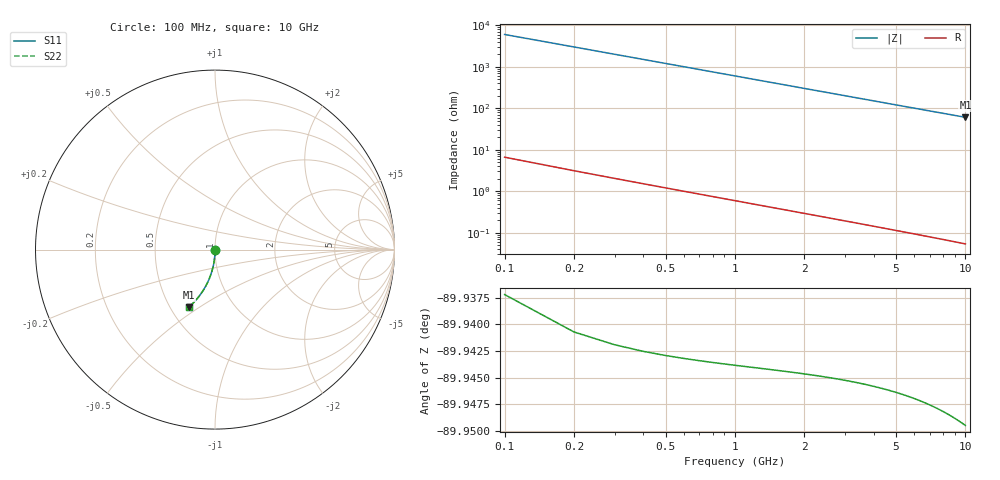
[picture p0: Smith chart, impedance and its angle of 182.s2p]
# Hz S RI R 50.00
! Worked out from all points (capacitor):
!   100 points, 100 MHz to 10 GHz, reference 50 ohm
!   read as one part in shunt: C = 263 fF near 100 MHz
!   lowest |Z| = 60.8 ohm at 10 GHz (marker M1)
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1e8  0.000243 -0.0038  0.9997 -0.00447  0.9997 -0.00447  0.000243 -0.0038
2e8  0.00019 -0.0076  0.9997 -0.00894  0.9997 -0.00894  0.00019 -0.0076
3e8  0.000102 -0.0114  0.9996 -0.0134  0.9996 -0.0134  0.000102 -0.0114
4e8  -1.96e-05 -0.0152  0.9994 -0.0179  0.9994 -0.0179  -1.96e-05 -0.0152
5e8  -0.000176 -0.019  0.9993 -0.0223  0.9993 -0.0223  -0.000176 -0.019
6e8  -0.000366 -0.0228  0.9991 -0.0268  0.9991 -0.0268  -0.000366 -0.0228
7e8  -0.000589 -0.0266  0.9989 -0.0313  0.9989 -0.0313  -0.000589 -0.0266
8e8  -0.000847 -0.0304  0.9986 -0.0357  0.9986 -0.0357  -0.000847 -0.0304
9e8  -0.00114 -0.0342  0.9983 -0.0402  0.9983 -0.0402  -0.00114 -0.0342
1.1e9  -0.00182 -0.0417  0.9976 -0.0491  0.9976 -0.0491  -0.00182 -0.0417
1.4e9  -0.0031 -0.053  0.9963 -0.0624  0.9963 -0.0624  -0.0031 -0.053
1.8e9  -0.00528 -0.068  0.9941 -0.0801  0.9941 -0.0801  -0.00528 -0.068
2.1e9  -0.00725 -0.0792  0.9921 -0.0933  0.9921 -0.0933  -0.00725 -0.0792
2.5e9  -0.0103 -0.094  0.989 -0.1107  0.989 -0.1107  -0.0103 -0.094
2.9e9  -0.0139 -0.1086  0.9853 -0.128  0.9853 -0.128  -0.0139 -0.1086
3.4e9  -0.0192 -0.1267  0.98 -0.1494  0.98 -0.1494  -0.0192 -0.1267
4.2e9  -0.0291 -0.1548  0.97 -0.1829  0.97 -0.1829  -0.0291 -0.1548
5.1e9  -0.0424 -0.1853  0.9564 -0.2194  0.9564 -0.2194  -0.0424 -0.1853
5.9e9  -0.0561 -0.2111  0.9425 -0.2507  0.9425 -0.2507  -0.0561 -0.2111
6.7e9  -0.0713 -0.2357  0.9271 -0.2806  0.9271 -0.2806  -0.0713 -0.2357
8.4e9  -0.108 -0.2831  0.8897 -0.3395  0.8897 -0.3395  -0.108 -0.2831
1e10  -0.147 -0.3214  0.8501 -0.3887  0.8501 -0.3887  -0.147 -0.3214
